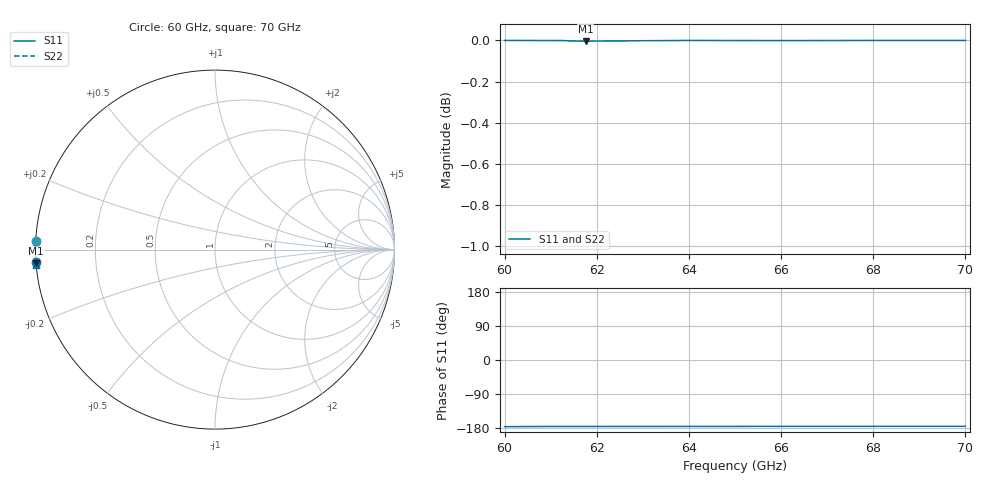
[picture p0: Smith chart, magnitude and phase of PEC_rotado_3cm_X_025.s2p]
! TOUCHSTONE file generated by CST MICROWAVE STUDIO
! Date and time: Sat Feb 17 15:53:04 2024
! Project name: metal_rotado.cst
! Parameters = {PX=0.25; angX=2; angY=2}
! Header version: 2018
! Port assignment regex: !\s*Touchstone port\s*([0-9]+)\s*=\s*(CST MWS port|CST DS port)\s*([0-9]+|Zmin|Zmax)\s*\(\"(.*)\"\)(\s*mode\s*([0-9]+))?.*
! Touchstone port assignment:
! Touchstone port 1 = CST MWS port 1 ("")
! Touchstone port 2 = CST MWS port 2 ("")
# GHz S MA R 376.7
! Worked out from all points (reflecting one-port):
!   1001 points, 60 GHz to 70 GHz, reference 376.7 ohm
!   lowest |S11| = 0.0 dB at 61.76 GHz (marker M1)
!   phase of S11 starts at -176 deg and turns +1 deg over the sweep
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60  1 -176.0  4.003e-66 -180.0  4.003e-66 -180.0  1 177.4
60.17  1 -175.9  4.003e-66 -180.0  4.003e-66 -180.0  0.9997 177.4
60.46  1 -175.6  4.003e-66 -180.0  4.003e-66 -180.0  0.9993 177.4
60.64  1 -175.5  4.003e-66 -180.0  4.003e-66 -180.0  0.9991 177.4
60.81  1 -175.5  4.003e-66 -180.0  4.003e-66 -180.0  0.9988 177.4
61.09  1 -175.5  3.002e-66 -180.0  3.002e-66 -180.0  0.9981 177.4
61.32  0.9999 -175.5  3.002e-66 -180.0  3.002e-66 -180.0  0.9965 177.4
61.42  0.9998 -175.5  3.002e-66 -180.0  3.002e-66 -180.0  0.9947 177.5
61.49  0.9997 -175.5  3.002e-66 -180.0  3.002e-66 -180.0  0.9933 177.6
61.53  0.9997 -175.5  3.002e-66 -180.0  3.002e-66 -180.0  0.9934 177.8
61.58  0.9997 -175.6  3.002e-66 -180.0  3.002e-66 -180.0  0.9962 177.9
61.63  0.9997 -175.6  3.002e-66 -180.0  3.002e-66 -180.0  0.9994 177.9
61.67  0.9996 -175.6  3.002e-66 -180.0  3.002e-66 -180.0  1 177.8
61.76  0.9996 -175.6  3.002e-66 -180.0  3.002e-66 -180.0  1 177.7
61.91  0.9997 -175.6  3.002e-66 -180.0  3.002e-66 -180.0  1 177.6
62.16  0.9997 -175.6  2.001e-66 -180.0  2.001e-66 -180.0  1 177.6
63.34  1 -175.6  1.001e-66 -180.0  1.001e-66 -180.0  1 177.6
65  1 -175.4  0 0.0  0 0.0  0.9999 177.8
66.67  0.9999 -175.1  1.001e-66 0.0  1.001e-66 0.0  0.9999 177.9
68.34  1 -174.9  2.001e-66 0.0  2.001e-66 0.0  1 177.9
69.21  1 -174.9  3.002e-66 0.0  3.002e-66 0.0  1 177.8
70  1 -175.0  0 0.0  0 0.0  1 177.6
